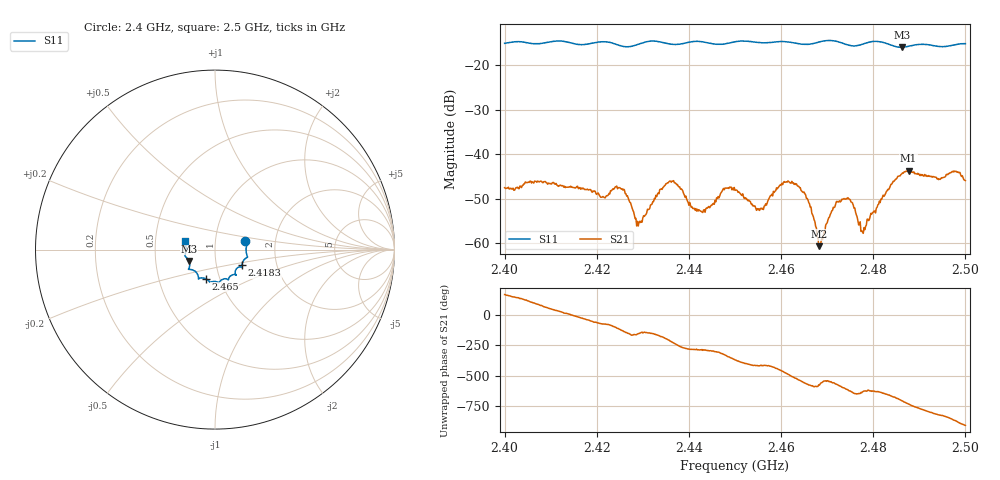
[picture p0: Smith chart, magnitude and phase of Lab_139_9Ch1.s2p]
# Hz S RI R 50
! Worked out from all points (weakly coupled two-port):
!   601 points, 2.4 GHz to 2.5 GHz, reference 50 ohm
!   highest |S21| = -43.74 dB at 2.4877 GHz (marker M1); lowest = -60.7 dB at 2.4682 GHz (marker M2)
!   lowest |S11| = -16.0 dB at 2.4862 GHz (marker M3), VSWR 1.38, Z = 37.1 - j4.83 ohm
!   |S11| at or under -10 dB: start of sweep to end of sweep
!   S12 and S22 are empty: the file has one direction only
!   S11 on the Smith chart (normalised r, x): 2.4 GHz: 1.40, +0.13; 2.4183 GHz: 1.33, -0.24; 2.465 GHz: 0.86, -0.29; 2.5 GHz: 0.71, +0.07
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2.4e9  0.1688 0.046  -0.00403 0.00116  0 0  0 0
2.416667e9  0.1548 -0.0681  0.00363 -0.00201  0 0  0 0
2.418333e9  0.1499 -0.0866  0.00278 -0.00285  0 0  0 0
2.421333e9  0.1524 -0.1004  0.000722 -0.00326  0 0  0 0
2.4255e9  0.1295 -0.0985  -0.00264 -0.00311  0 0  0 0
2.429167e9  0.1122 -0.1303  -0.00156 -0.000726  0 0  0 0
2.433333e9  0.1168 -0.1411  -0.0036 -0.000664  0 0  0 0
2.4365e9  0.0947 -0.1419  -0.00323 0.00375  0 0  0 0
2.443e9  0.0718 -0.1671  0.000851 0.00204  0 0  0 0
2.45e9  0.0251 -0.1806  0.00385 -0.000719  0 0  0 0
2.455e9  0.00752 -0.1788  0.00122 -0.00203  0 0  0 0
2.461e9  -0.0304 -0.1803  -0.00225 -0.00428  0 0  0 0
2.465e9  -0.0529 -0.162  -0.00358 0.0011  0 0  0 0
2.466667e9  -0.0714 -0.1575  -0.00159 0.00149  0 0  0 0
2.468167e9  -0.0849 -0.1598  -0.00076 0.000528  0 0  0 0
2.472333e9  -0.0918 -0.158  -0.00236 0.00169  0 0  0 0
2.475e9  -0.1017 -0.1304  -0.000238 0.00306  0 0  0 0
2.477833e9  -0.1312 -0.1114  -3.1e-05 0.00129  0 0  0 0
2.483333e9  -0.1419 -0.0958  0.00192 0.00351  0 0  0 0
2.486167e9  -0.1446 -0.0634  0.00575 0.00162  0 0  0 0
2.487667e9  -0.1546 -0.0491  0.00636 -0.00133  0 0  0 0
2.5e9  -0.167 0.0473  -0.005 0.000658  0 0  0 0
